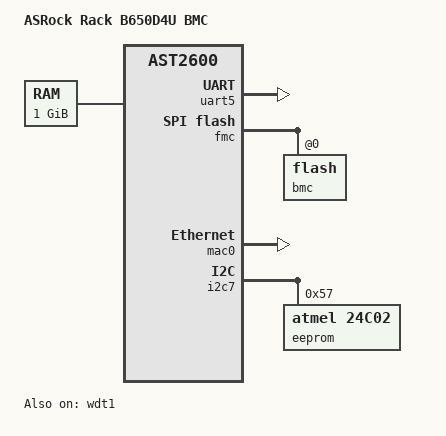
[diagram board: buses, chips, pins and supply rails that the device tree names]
// SPDX-License-Identifier: GPL-2.0
/dts-v1/;

#include "aspeed-g6.dtsi"
#include <dt-bindings/gpio/aspeed-gpio.h> // Recommended for GPIO mapping

/ {
	model = "ASRock Rack B650D4U BMC";
	compatible = "asrock,b650d4u-bmc", "aspeed,ast2600";

	aliases {
		serial4 = &uart5;
	};

	chosen {
		stdout-path = "serial4:115200n8";
	};

	memory@80000000 {
		device_type = "memory";
		reg = <0x80000000 0x40000000>;
	};
};

/* BMC Console UART */
&uart5 {
	status = "okay";
};

/* SPI Flash Management */
&fmc {
	status = "okay";
	flash@0 {
		status = "okay";
		m25p,fast-read;
		label = "bmc";
#include "openbmc-flash-layout-64.dtsi"
	};
};

/* Dedicated Management LAN */
&mac0 {
	status = "okay";
	pinctrl-names = "default";
	pinctrl-0 = <&pinctrl_rgmii1_default &pinctrl_mdio1_default>;
};

/* I2C Bus for FRU/EEPROM Storage */
&i2c7 {
	status = "okay";
	eeprom@57 {
		compatible = "atmel,24c02";
		reg = <0x57>;
		pagesize = <16>;
	};
};

/* System Watchdog */
&wdt1 {
	status = "okay";
	aspeed,reset-type = "soc";
};
